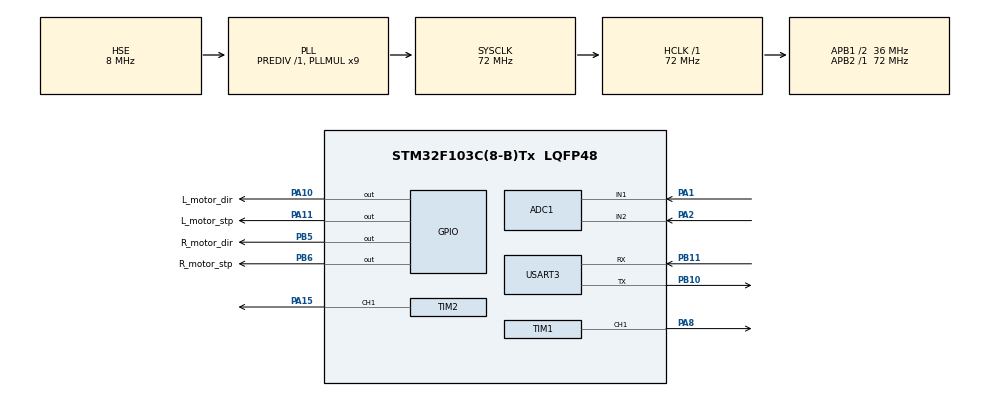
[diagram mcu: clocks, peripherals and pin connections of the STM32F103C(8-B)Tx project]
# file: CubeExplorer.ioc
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ADC1.Channel-0\#ChannelRegularConversion=ADC_CHANNEL_1
ADC1.NbrOfConversionFlag=1
ADC1.Rank-0\#ChannelRegularConversion=1
ADC1.SamplingTime-0\#ChannelRegularConversion=ADC_SAMPLETIME_1CYCLE_5
ADC1.master=1
Dma.ADC1.0.Direction=DMA_PERIPH_TO_MEMORY
Dma.ADC1.0.Instance=DMA1_Channel1
Dma.ADC1.0.MemDataAlignment=DMA_MDATAALIGN_HALFWORD
Dma.ADC1.0.MemInc=DMA_MINC_ENABLE
Dma.ADC1.0.Mode=DMA_CIRCULAR
Dma.ADC1.0.PeriphDataAlignment=DMA_PDATAALIGN_HALFWORD
Dma.ADC1.0.PeriphInc=DMA_PINC_DISABLE
Dma.ADC1.0.Priority=DMA_PRIORITY_LOW
Dma.Request0=ADC1
Dma.Request1=USART3_RX
Dma.Request2=USART3_TX
Dma.USART3_RX.1.Direction=DMA_PERIPH_TO_MEMORY
Dma.USART3_RX.1.Instance=DMA1_Channel3
Dma.USART3_RX.1.MemDataAlignment=DMA_MDATAALIGN_BYTE
Dma.USART3_RX.1.MemInc=DMA_MINC_ENABLE
Dma.USART3_RX.1.Mode=DMA_NORMAL
Dma.USART3_RX.1.PeriphDataAlignment=DMA_PDATAALIGN_BYTE
Dma.USART3_RX.1.PeriphInc=DMA_PINC_DISABLE
Dma.USART3_RX.1.Priority=DMA_PRIORITY_LOW
Dma.USART3_TX.2.Direction=DMA_MEMORY_TO_PERIPH
Dma.USART3_TX.2.Instance=DMA1_Channel2
Dma.USART3_TX.2.MemDataAlignment=DMA_MDATAALIGN_BYTE
Dma.USART3_TX.2.MemInc=DMA_MINC_ENABLE
Dma.USART3_TX.2.Mode=DMA_NORMAL
Dma.USART3_TX.2.PeriphDataAlignment=DMA_PDATAALIGN_BYTE
Dma.USART3_TX.2.PeriphInc=DMA_PINC_DISABLE
Dma.USART3_TX.2.Priority=DMA_PRIORITY_LOW
Mcu.Family=STM32F1
Mcu.Name=STM32F103C(8-B)Tx
Mcu.Package=LQFP48
NVIC.DMA1_Channel1_IRQn=true\:0\:0\:false\:false\:true\:false\:true\:true
NVIC.DMA1_Channel2_IRQn=true\:0\:0\:false\:false\:true\:false\:true\:true
NVIC.DMA1_Channel3_IRQn=true\:0\:0\:false\:false\:true\:false\:true\:true
NVIC.PriorityGroup=NVIC_PRIORITYGROUP_4
NVIC.USART3_IRQn=true\:0\:0\:false\:false\:true\:true\:true\:true
PA1.Signal=ADCx_IN1
PA10.GPIO_Label=L_motor_dir
PA10.Signal=GPIO_Output
PA11.GPIO_Label=L_motor_stp
PA11.GPIO_PuPd=GPIO_PULLUP
PA11.GPIO_Speed=GPIO_SPEED_FREQ_HIGH
PA11.Signal=GPIO_Output
PA13.Mode=Serial_Wire
PA13.Signal=SYS_JTMS-SWDIO
PA14.Mode=Serial_Wire
PA14.Signal=SYS_JTCK-SWCLK
PA15.Signal=S_TIM2_CH1_ETR
PA2.Signal=ADCx_IN2
PA8.Signal=S_TIM1_CH1
PB10.Mode=Asynchronous
PB10.Signal=USART3_TX
PB11.Mode=Asynchronous
PB11.Signal=USART3_RX
PB5.GPIO_Label=R_motor_dir
PB5.Signal=GPIO_Output
PB6.GPIO_Label=R_motor_stp
PB6.GPIO_PuPd=GPIO_PULLUP
PB6.GPIO_Speed=GPIO_SPEED_FREQ_HIGH
PB6.Signal=GPIO_Output
PD0-OSC_IN.Mode=HSE-External-Oscillator
PD0-OSC_IN.Signal=RCC_OSC_IN
PD1-OSC_OUT.Mode=HSE-External-Oscillator
PD1-OSC_OUT.Signal=RCC_OSC_OUT
ProjectManager.HeapSize=0x200
ProjectManager.StackSize=0x400
ProjectManager.TargetToolchain=MDK-ARM V5.32
RCC.ADCPresc=RCC_ADCPCLK2_DIV6
RCC.AHBFreq_Value=72000000
RCC.APB1CLKDivider=RCC_HCLK_DIV2
RCC.APB1Freq_Value=36000000
RCC.APB1TimFreq_Value=72000000
RCC.APB2Freq_Value=72000000
RCC.APB2TimFreq_Value=72000000
RCC.HCLKFreq_Value=72000000
RCC.PLLMUL=RCC_PLL_MUL9
RCC.PLLSourceVirtual=RCC_PLLSOURCE_HSE
RCC.SYSCLKFreq_VALUE=72000000
RCC.SYSCLKSource=RCC_SYSCLKSOURCE_PLLCLK
RCC.USBFreq_Value=72000000
SH.ADCx_IN1.0=ADC1_IN1,IN1
SH.ADCx_IN2.0=ADC1_IN2,IN2
SH.S_TIM1_CH1.0=TIM1_CH1,PWM Generation1 CH1
SH.S_TIM2_CH1_ETR.0=TIM2_CH1,PWM Generation1 CH1
TIM1.Channel-PWM\ Generation1\ CH1=TIM_CHANNEL_1
TIM1.Period=20000-1
TIM1.Prescaler=72-1
TIM2.Channel-PWM\ Generation1\ CH1=TIM_CHANNEL_1
TIM2.Period=20000-1
TIM2.Prescaler=72-1
USART3.VirtualMode=VM_ASYNC
VP_TIM1_VS_ClockSourceINT.Mode=Internal
VP_TIM2_VS_ClockSourceINT.Mode=Internal
board=custom

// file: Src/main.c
/* USER CODE BEGIN Header */
/**
 ******************************************************************************
 * @file           : main.c
 * @brief          : Main program body
 ******************************************************************************
 * @attention
 *
 * Copyright (c) 2024 STMicroelectronics.
 * All rights reserved.
 *
 * This software is licensed under terms that can be found in the LICENSE file
 * in the root directory of this software component.
 * If no LICENSE file comes with this software, it is provided AS-IS.
 *
 ******************************************************************************
 */
/* USER CODE END Header */
#include "main.h"
#include "adc.h"
#include "dma.h"
#include "tim.h"
#include "usart.h"
#include "gpio.h"

/* USER CODE BEGIN Includes */
#include "Servo.h"
#include "Motor.h"
#include "OLED.h"
#include "Delay.h"
#include "Explore.h"
#include "string.h"
#include "UART_DMA.h"
/* USER CODE END Includes */

/* USER CODE BEGIN PV */
char solve_string[64] = {""};
char control_string[64] = {""};
/* USER CODE END PV */

void SystemClock_Config(void);

/* USER CODE BEGIN 0 */

void servo_clamp()
{
  release_L_wei();
  Delay_ms(200);
  release_R_wei();
  Delay_ms(200);
  clamp_L();
  Delay_ms(200);
  clamp_R();
  Delay_ms(200);
}

/* USER CODE END 0 */

int main(void)
{

  /* MCU Configuration--------------------------------------------------------*/

  /* Reset of all peripherals, Initializes the Flash interface and the Systick. */
  HAL_Init();

  /* Configure the system clock */
  SystemClock_Config();

  /* Initialize all configured peripherals */
  MX_GPIO_Init();
  MX_DMA_Init();
  MX_TIM2_Init();
  MX_ADC1_Init();
  MX_TIM1_Init();
  MX_USART3_UART_Init();
  /* USER CODE BEGIN 2 */
  Servo_Init();
  servo_clamp();
  UART_DMA_Receive_init(&huart3, buffer_receive_3, buffer_receive_length_3);
  /* USER CODE END 2 */

  /* Infinite loop */
  while (1)
  {

    /* USER CODE BEGIN 3 */

    if (solve_string[0] != '\0') // 收到字符后，自动开始。
    {
      magic_cube(solve_string);
    }
    if (control_string[0] != '\0') // 收到控制字符后，开始旋转拍照
    {
      control_cube();
      control_string[0] = '\0';
    }
    // test();
  }
  /* USER CODE END 3 */
}

void SystemClock_Config(void)
{
  RCC_OscInitTypeDef RCC_OscInitStruct = {0};
  RCC_ClkInitTypeDef RCC_ClkInitStruct = {0};
  RCC_PeriphCLKInitTypeDef PeriphClkInit = {0};

  /** Initializes the RCC Oscillators according to the specified parameters
  * in the RCC_OscInitTypeDef structure.
  */
  RCC_OscInitStruct.OscillatorType = RCC_OSCILLATORTYPE_HSE;
  RCC_OscInitStruct.HSEState = RCC_HSE_ON;
  RCC_OscInitStruct.HSEPredivValue = RCC_HSE_PREDIV_DIV1;
  RCC_OscInitStruct.HSIState = RCC_HSI_ON;
  RCC_OscInitStruct.PLL.PLLState = RCC_PLL_ON;
  RCC_OscInitStruct.PLL.PLLSource = RCC_PLLSOURCE_HSE;
  RCC_OscInitStruct.PLL.PLLMUL = RCC_PLL_MUL9;
  if (HAL_RCC_OscConfig(&RCC_OscInitStruct) != HAL_OK)
  {
    Error_Handler();
  }

  /** Initializes the CPU, AHB and APB buses clocks
  */
  RCC_ClkInitStruct.ClockType = RCC_CLOCKTYPE_HCLK|RCC_CLOCKTYPE_SYSCLK
                              |RCC_CLOCKTYPE_PCLK1|RCC_CLOCKTYPE_PCLK2;
  RCC_ClkInitStruct.SYSCLKSource = RCC_SYSCLKSOURCE_PLLCLK;
  RCC_ClkInitStruct.AHBCLKDivider = RCC_SYSCLK_DIV1;
  RCC_ClkInitStruct.APB1CLKDivider = RCC_HCLK_DIV2;
  RCC_ClkInitStruct.APB2CLKDivider = RCC_HCLK_DIV1;

  if (HAL_RCC_ClockConfig(&RCC_ClkInitStruct, FLASH_LATENCY_2) != HAL_OK)
  {
    Error_Handler();
  }
  PeriphClkInit.PeriphClockSelection = RCC_PERIPHCLK_ADC;
  PeriphClkInit.AdcClockSelection = RCC_ADCPCLK2_DIV6;
  if (HAL_RCCEx_PeriphCLKConfig(&PeriphClkInit) != HAL_OK)
  {
    Error_Handler();
  }
}

void Error_Handler(void)
{
  __disable_irq();
  while (1)
  {
  }
}
